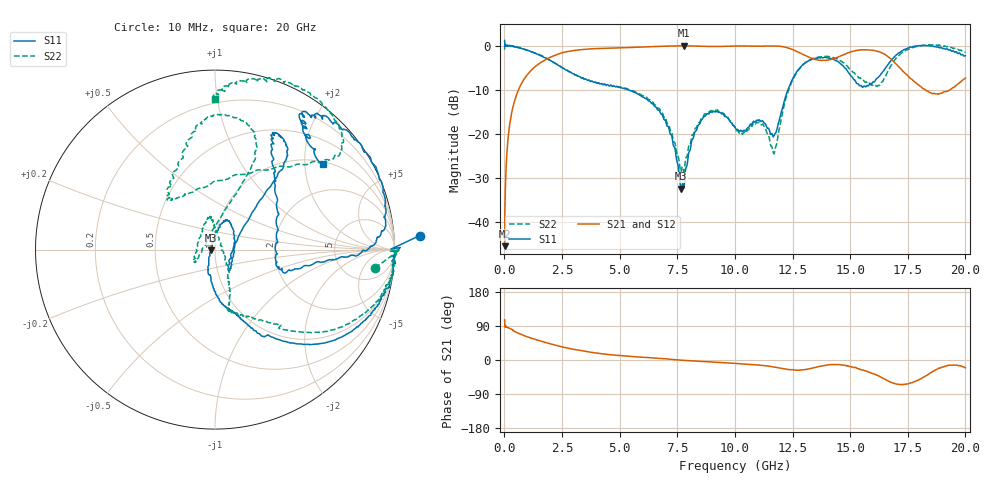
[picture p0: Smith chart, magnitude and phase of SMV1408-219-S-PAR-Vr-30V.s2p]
! Skyworks SMV1408-219 De-embedded S-Parameter Data
! Created  11-5-2013
! 2 Port Network Data
! Mounted on Board # SK41159-3 Rev 1 in Series, Cathode is connected to RF1 as Input( Pin 1) and Anode is connected RF2 as Output(Pin 2)
! Temperature = +25 °C
! RF traces and connectors are de-embedded using TRL calibration and standards
! Reference planes are package pins
! Pin 1 Input port (S-Port1), Pin 2 Output port (S-port2)
! Pin = 0 dBm, Bias: Vr = 30V
! Dev # 1
#  HZ  S  DB  R  50.00
! Rohde & Schwarz ZVA24 4Ports - Version 2.90 - 1145.1110k26 SN: 100216
! Date: 2013-11-05 15:27:47
! Measurements: S11 S21 S12 S22
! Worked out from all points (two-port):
!   2000 points, 10 MHz to 20 GHz, reference 50 ohm
!   highest |S21| = -0.05 dB at 7.8 GHz (marker M1); lowest = -45.6 dB at 10 MHz (marker M2)
!   |S21| within 3 dB of the highest: 1.84 GHz to 13.42 GHz (11.58 GHz wide, 152 % of centre); 14.23 GHz to 16.77 GHz (2.537 GHz wide, 16.4 % of centre)
!   lowest |S11| = -32.5 dB at 7.67 GHz (marker M3), VSWR 1.05, Z = 47.7 - j0.432 ohm
!   |S11| at or under -10 dB: 5.339 GHz to 12.31 GHz (6.968 GHz wide, 79 % of centre)
!   |S22| runs from -28.7 to 0.2 dB; largest |S21 - S12| = 0.035
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1e7  1.16 3.9  -45.60 105.9  -44.19 79.5  -0.93 -6.5
2.2e8  0.01 -7.3  -18.32 83.8  -18.38 83.9  -0.01 -6.8
6.7e8  -0.54 -22.1  -9.38 69.2  -9.37 69.1  -0.51 -18.1
1.77e9  -2.80 -46.8  -3.24 46.6  -3.25 46.6  -2.71 -38.9
3.35e9  -7.32 -68.1  -0.91 24.4  -0.92 24.3  -7.36 -62.1
6.68e9  -14.67 -95.5  -0.19 4.3  -0.20 4.5  -14.32 -67.6
7.2e9  -20.15 -112.7  -0.09 2.0  -0.10 2.1  -19.35 -51.5
7.67e9  -32.54 -168.9  -0.05 -0.5  -0.06 -0.4  -28.49 -1.1
7.8e9  -31.94 133.0  -0.05 -1.0  -0.06 -1.0  -28.37 37.8
8.2e9  -20.93 84.1  -0.09 -2.5  -0.11 -2.6  -20.21 88.8
8.7e9  -16.07 74.1  -0.17 -4.0  -0.19 -4.1  -15.53 95.5
1.001e10  -18.58 21.3  -0.11 -9.0  -0.11 -8.9  -18.82 134.1
1.113e10  -17.27 -57.3  -0.13 -14.0  -0.13 -13.6  -17.94 -146.8
1.172e10  -20.32 -6.2  -0.11 -18.8  -0.11 -18.4  -24.20 139.5
1.243e10  -8.35 47.6  -0.76 -25.8  -0.76 -26.6  -8.68 68.3
1.334e10  -3.10 55.0  -2.91 -21.7  -2.91 -21.3  -3.04 73.5
1.449e10  -3.74 60.8  -2.58 -12.0  -2.60 -11.7  -3.14 98.7
1.564e10  -9.31 -4.6  -0.95 -28.4  -0.96 -28.1  -8.28 131.0
1.667e10  -4.09 -5.8  -2.61 -55.7  -2.60 -55.8  -5.63 58.0
1.772e10  -0.22 12.3  -7.89 -58.8  -7.89 -58.6  -0.46 41.9
1.89e10  -0.53 50.6  -10.87 -21.1  -10.87 -20.2  0.03 70.8
2e10  -2.30 38.5  -7.39 -20.5  -7.39 -20.3  -1.54 89.9
